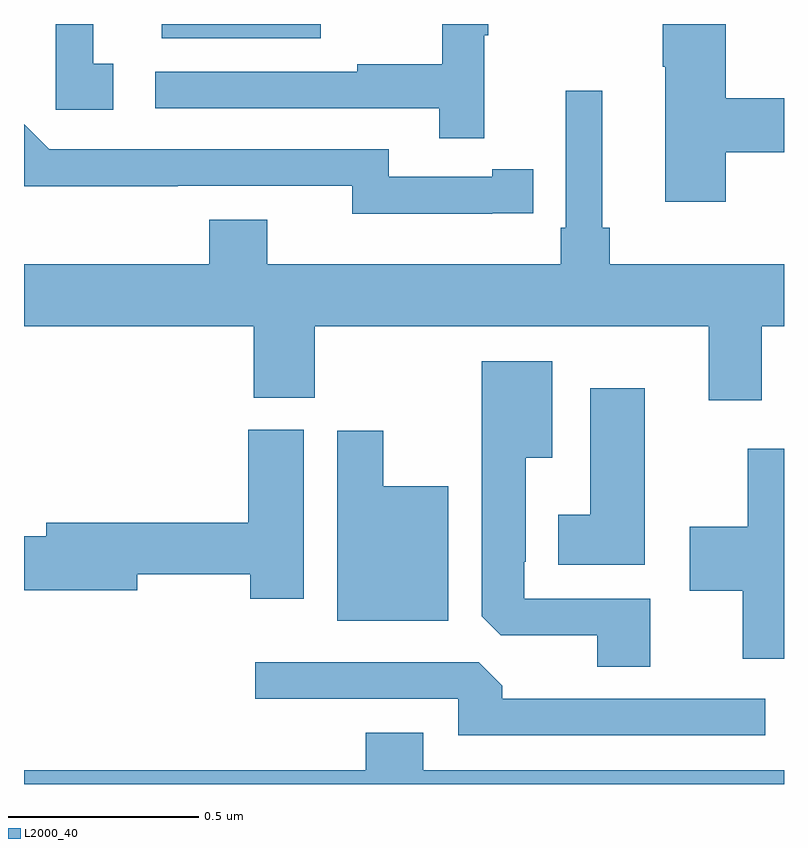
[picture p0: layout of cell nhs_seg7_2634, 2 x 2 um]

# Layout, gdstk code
import gdstk
lib = gdstk.Library(unit=1e-6, precision=1e-09)
def R(c, l, rs):  # rectangles x0, y0, x1, y1
    for r in rs: c.add(gdstk.rectangle(r[:2], r[2:], *l))
def P(c, l, *ps):  # polygons
    for p in ps: c.add(gdstk.Polygon(p, *l))
L2000_40 = (2000, 40)

nhs_seg7_2634 = lib.new_cell('nhs_seg7_2634')
R(nhs_seg7_2634, L2000_40, [(147.362,1079.963,147.781,1080)])
P(nhs_seg7_2634, L2000_40, [(147.235,1079.895),(147.182,1079.895),(147.182,1080),(147.084,1080),(147.084,1079.775),(147.235,1079.775)],
  [(148.847,1079.662),(149,1079.662),(149,1079.804),(148.847,1079.804),(148.847,1080),(148.681,1080),(148.681,1079.887),(148.688,1079.887),(148.688,1079.532),(148.847,1079.532)],
  [(148.211,1079.971),(148.222,1079.971),(148.222,1080),(148.101,1080),(148.101,1079.894),(147.877,1079.894),(147.877,1079.874),(147.345,1079.874),(147.345,1079.778),(148.093,1079.778),(148.093,1079.7),(148.211,1079.7)],
  [(148.942,1079.204),(149,1079.204),(149,1079.368),(148.541,1079.368),(148.541,1079.464),(148.522,1079.464),(148.522,1079.824),(148.425,1079.824),(148.425,1079.464),(148.412,1079.464),(148.412,1079.368),(147.64,1079.368),(147.64,1079.485),(147.488,1079.485),(147.488,1079.368),(147,1079.368),(147,1079.204),(147.605,1079.204),(147.605,1079.017),(147.765,1079.017),(147.765,1079.204),(148.802,1079.204),(148.802,1079.01),(148.942,1079.01)],
  [(148.232,1079.502),(148.34,1079.502),(148.34,1079.618),(148.232,1079.618),(148.232,1079.598),(147.96,1079.598),(147.96,1079.67),(147.066,1079.67),(147,1079.736),(147,1079.573),(147.404,1079.573),(147.404,1079.574),(147.864,1079.574),(147.864,1079.501),(148.232,1079.501)],
  [(148.648,1078.488),(148.317,1078.488),(148.317,1078.585),(148.321,1078.585),(148.321,1078.859),(148.39,1078.859),(148.39,1079.113),(148.205,1079.113),(148.205,1078.441),(148.254,1078.392),(148.508,1078.392),(148.508,1078.309),(148.648,1078.309)],
  [(148.633,1079.041),(148.49,1079.041),(148.49,1078.708),(148.406,1078.708),(148.406,1078.577),(148.633,1078.577)],
  [(147.736,1078.932),(147.59,1078.932),(147.59,1078.688),(147.059,1078.688),(147.059,1078.652),(147,1078.652),(147,1078.51),(147.298,1078.51),(147.298,1078.552),(147.595,1078.552),(147.595,1078.488),(147.736,1078.488)],
  [(148.117,1078.783),(147.946,1078.783),(147.946,1078.93),(147.824,1078.93),(147.824,1078.43),(148.117,1078.43)],
  [(149,1078.882),(148.904,1078.882),(148.904,1078.677),(148.752,1078.677),(148.752,1078.508),(148.892,1078.508),(148.892,1078.329),(149,1078.329)],
  [(148.951,1078.224),(148.259,1078.224),(148.259,1078.258),(148.197,1078.32),(147.609,1078.32),(147.609,1078.224),(148.143,1078.224),(148.143,1078.128),(148.951,1078.128)],
  [(149,1078.036),(148.051,1078.036),(148.051,1078.135),(147.899,1078.135),(147.899,1078.036),(147,1078.036),(147,1078),(149,1078)])

lib.write_gds('nhs_seg7_2634.gds')
